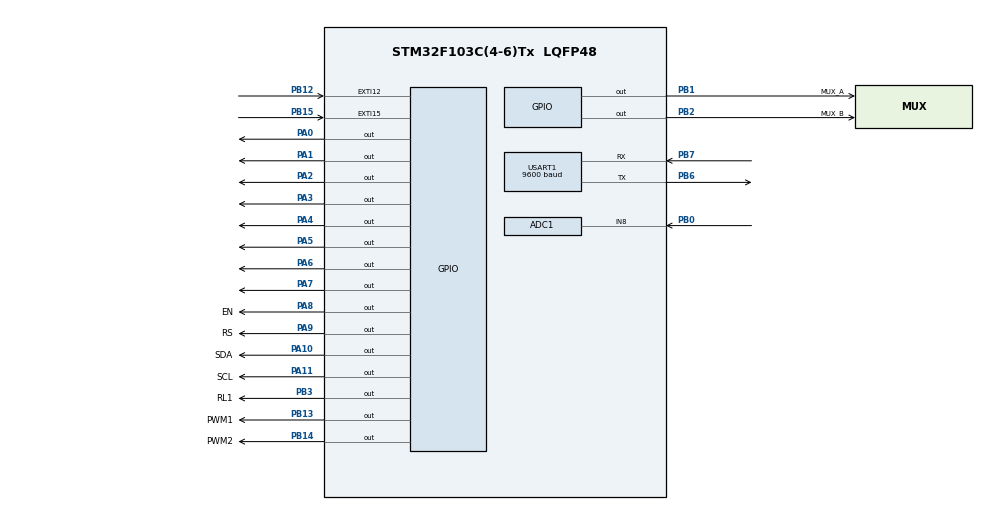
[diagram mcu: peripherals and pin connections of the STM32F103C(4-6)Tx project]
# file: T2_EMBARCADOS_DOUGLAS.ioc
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ADC1.Channel-0\#ChannelRegularConversion=ADC_CHANNEL_8
ADC1.NbrOfConversion=1
ADC1.NbrOfConversionFlag=1
ADC1.Rank-0\#ChannelRegularConversion=1
ADC1.SamplingTime-0\#ChannelRegularConversion=ADC_SAMPLETIME_71CYCLES_5
ADC1.master=1
Mcu.Family=STM32F1
Mcu.Name=STM32F103C(4-6)Tx
Mcu.Package=LQFP48
NVIC.EXTI15_10_IRQn=true\:0\:0\:false\:false\:true\:true\:true
NVIC.PriorityGroup=NVIC_PRIORITYGROUP_4
NVIC.TIM1_UP_IRQn=true\:0\:0\:false\:false\:true\:true\:true
PA0-WKUP.Signal=GPIO_Output
PA1.Signal=GPIO_Output
PA10.GPIO_Label=SDA
PA10.Signal=GPIO_Output
PA11.GPIO_Label=SCL
PA11.Signal=GPIO_Output
PA2.Signal=GPIO_Output
PA3.Signal=GPIO_Output
PA4.Signal=GPIO_Output
PA5.Signal=GPIO_Output
PA6.Signal=GPIO_Output
PA7.Signal=GPIO_Output
PA8.GPIO_Label=EN
PA8.Signal=GPIO_Output
PA9.GPIO_Label=RS
PA9.Signal=GPIO_Output
PB0.Signal=ADCx_IN8
PB1.GPIO_Label=MUX_A
PB1.Signal=GPIO_Output
PB12.GPIO_ModeDefaultEXTI=GPIO_MODE_IT_FALLING
PB12.Signal=GPXTI12
PB13.GPIO_Label=PWM1
PB13.Signal=GPIO_Output
PB14.GPIO_Label=PWM2
PB14.Signal=GPIO_Output
PB15.GPIO_ModeDefaultEXTI=GPIO_MODE_IT_RISING
PB15.Signal=GPXTI15
PB2.GPIO_Label=MUX_B
PB2.Signal=GPIO_Output
PB3.GPIO_Label=RL1
PB3.Signal=GPIO_Output
PB6.Mode=Asynchronous
PB6.Signal=USART1_TX
PB7.Mode=Asynchronous
PB7.Signal=USART1_RX
ProjectManager.HeapSize=0x200
ProjectManager.StackSize=0x400
ProjectManager.TargetToolchain=MDK-ARM V5.27
RCC.APB1Freq_Value=8000000
RCC.APB2Freq_Value=8000000
SH.ADCx_IN8.0=ADC1_IN8,IN8
TIM1.Period=1
TIM1.Prescaler=800
USART1.BaudRate=9600
USART1.VirtualMode=VM_ASYNC
VP_SYS_VS_ND.Mode=No_Debug
VP_TIM1_VS_ClockSourceINT.Mode=Internal
board=custom

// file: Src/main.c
/* USER CODE BEGIN Header */
/**
  ******************************************************************************
  * @file           : main.c
  * @brief          : Main program body
  ******************************************************************************
  * @attention
  *
  * <h2><center>&copy; Copyright (c) 2020 STMicroelectronics.
  * All rights reserved.</center></h2>
  *
  * This software component is licensed by ST under BSD 3-Clause license,
  * the "License"; You may not use this file except in compliance with the
  * License. You may obtain a copy of the License at:
  *                        opensource.org/licenses/BSD-3-Clause
  *
  ******************************************************************************
  */
/* USER CODE END Header */

#include "main.h"
#include "adc.h"
#include "tim.h"
#include "usart.h"
#include "gpio.h"

/* USER CODE BEGIN Includes */

#include "string.h"
#include "stdio.h"
#include "math.h"

#define SDA (1<<10) //PA.10 - PLACA stm32f103
#define SCL (1<<11) //PA.11 - PLACA stm32f103
#define SDA0 GPIOA->BSRR = 1<<(10+16)    // bit set/reset register 32 bit- 16 primeiros set, 16 ultimos reset: [0000010000000000 0000000000000000]
#define SDA1 GPIOA->BSRR = SDA					 // bit set/reset register 32 bit- 16 primeiros set, 16 ultimos reset: [0000000000000000 0000010000000000]
#define SCL0 GPIOA->BSRR = 1<<(11+16)
#define SCL1 GPIOA->BSRR = SCL

/* USER CODE END Includes */

/* USER CODE BEGIN PTD */

short AC1, AC2, AC3, B1, B2, MB, MC, MD;
unsigned short AC4, AC5, AC6;
long X1, X2, B5, T, UT, UP, B6, X3, B3, B4, B7, pressao;
unsigned int conta_tempo =0, tempo_medido =0, contador =0, direcao=0, pwm = 0;
float freq_anemometro=0, quantidade_chuva=0;

/* USER CODE END PTD */

void SystemClock_Config(void);

/* USER CODE BEGIN 0 */

//--------------------------------------------------- MANDA COMANDO PARA O LCD
	void lcd_comando(uint8_t comando){
	HAL_GPIO_WritePin(GPIOA, RS_Pin,0);  //RS em zero para mandar comando
	GPIOA->BRR = 0xFF; //zera os bits de dados
	GPIOA->BSRR = comando; //seta os bits do comando

	HAL_GPIO_WritePin(GPIOA, EN_Pin,1);			//en 1
	HAL_Delay(1);
	HAL_GPIO_WritePin(GPIOA, EN_Pin,0);			//en 0
	HAL_Delay(1);
	}

//--------------------------------------------------- DESLOCA CURSOR LCD
	void lcd_GOTO(int linha, int coluna){
		if (coluna<16){
		if (linha==0)lcd_comando(0x80+coluna);
		if (linha==1)lcd_comando(0xc0+coluna);
		if (linha==2)lcd_comando(0x94+coluna);
		if (linha==3)lcd_comando(0xD4+coluna);
		}
	}

//--------------------------------------------------- MANDA DADOS PARA ESCREVER NO LCD
	void lcd_dado(char dado){
	HAL_GPIO_WritePin(GPIOA, RS_Pin,1);  //RS em zero para mandar dados
	GPIOA->BRR = 0xFF; //zera os bits de dados
	GPIOA->BSRR = dado; //seta os bits do dado

	HAL_GPIO_WritePin(GPIOA, EN_Pin,1);			//en 1
	HAL_Delay(1);
	HAL_GPIO_WritePin(GPIOA, EN_Pin,0);			//en 0
	HAL_Delay(1);
	}

//--------------------------------------------------- ESCREVE STRINGS NO LCD
	void lcd_STRING(char vetor[]){
		int tamanho, i=0;
		tamanho = strlen(vetor);
		for(i=0;i<=tamanho;i++){
			lcd_dado(vetor[i]);
		}
	}

//--------------------------------------------------- INICIALIZAÇAO DO LCD
	void lcd_init(void){
		lcd_comando(0x38);
		lcd_comando(0x0e);
		lcd_comando(0x06);
		lcd_comando(0x01);
	  HAL_Delay(100);
	}

//--------------------------------------------------- APAGA TUDO NO DISLAY
	void lcd_clear(){
	int i=0, j=0;
		for (i=0; i<4;i++){
			for (j=0; j<16;j++){
				lcd_GOTO(i,j);
				lcd_dado(' ');
			}
		}
	}

//--------------------------------------------------- START I2C PADRAO
	void start_i2c(void){
SDA1;
HAL_Delay(1);//1 milisegundo
SCL1;
HAL_Delay(1);//1 milisegundo
SDA0;
HAL_Delay(1);//1 milisegundo
SCL0;
HAL_Delay(1);//1 milisegundo
}
//--------------------------------------------------- STOP I2C PADRAO
	void stop_i2c(void) {
SDA0;
HAL_Delay(1);//1 milisegundo
SCL0;
HAL_Delay(1);//1 milisegundo
SCL1;
HAL_Delay(1);//1 milisegundo
SDA1;
HAL_Delay(1);//1 milisegundo
}

//--------------------------------------------------- Envia 1 pelo I2C
	void envia_1_i2c(void){
SDA1;
HAL_Delay(1);//1 milisegundo
SCL1;
HAL_Delay(1);//1 milisegundo
SCL0;
HAL_Delay(1);//1 milisegundo
}

//--------------------------------------------------- Envia 0 pelo I2C
	void envia_0_i2c(void){
SDA0;
HAL_Delay(1);//1 milisegundo
SCL1;
HAL_Delay(1);//1 milisegundo
SCL0;
HAL_Delay(1);//1 milisegundo
}

//--------------------------------------------------- ACK i2c
	int ack_i2c(void){
int x;																// muda a config do pino de saida para entrada para poder ler o ack depois muda para sada de novo
GPIO_InitTypeDef GPIO_InitStruct;
GPIO_InitStruct.Pin = GPIO_PIN_10; // SDA => PA.10
GPIO_InitStruct.Mode = GPIO_MODE_INPUT; //FAZ SDA COMO ENTRADA
GPIO_InitStruct.Pull = GPIO_PULLUP;
GPIO_InitStruct.Speed = GPIO_SPEED_FREQ_LOW;
HAL_GPIO_Init(GPIOA, &GPIO_InitStruct);
SCL1;
HAL_Delay(1);//1 milisegundo
x = HAL_GPIO_ReadPin(GPIOA,SDA); //L^E O PINO
SCL0;
HAL_Delay(1);//1 milisegundo
GPIO_InitStruct.Pin = GPIO_PIN_10; // SDA => PA.10
GPIO_InitStruct.Mode = GPIO_MODE_OUTPUT_PP; //FAZ SDA COMO SA´IDA
GPIO_InitStruct.Pull = GPIO_PULLUP;
GPIO_InitStruct.Speed = GPIO_SPEED_FREQ_LOW;
HAL_GPIO_Init(GPIOA, &GPIO_InitStruct);
return x; //se 0 ok, se 1 erro
}

//--------------------------------------------------- LE UM BYTE
	int8_t le_byte(void){
	uint8_t x=0;																// muda a config do pino de saida para entrada para poder ler o ack depois muda para sada de novo
	GPIO_InitTypeDef GPIO_InitStruct;
	GPIO_InitStruct.Pin = GPIO_PIN_10; // SDA => PA.10
	GPIO_InitStruct.Mode = GPIO_MODE_INPUT; //FAZ SDA COMO ENTRADA
	GPIO_InitStruct.Pull = GPIO_PULLUP;
	GPIO_InitStruct.Speed = GPIO_SPEED_FREQ_LOW;
	HAL_GPIO_Init(GPIOA, &GPIO_InitStruct);

	for (int i=0; i<8; i++){
	SCL1;
	HAL_Delay(1);//1 milisegundo
	x = x<<1;
	x |= HAL_GPIO_ReadPin(GPIOA,SDA); //L^E O PINO
	SCL0;
	HAL_Delay(1);//1 milisegundo
	}

	GPIO_InitStruct.Pin = GPIO_PIN_10; // SDA => PA.10
	GPIO_InitStruct.Mode = GPIO_MODE_OUTPUT_PP; //FAZ SDA COMO SA´IDA
	GPIO_InitStruct.Pull = GPIO_PULLUP;
	GPIO_InitStruct.Speed = GPIO_SPEED_FREQ_LOW;
	HAL_GPIO_Init(GPIOA, &GPIO_InitStruct);
	return x;

}

//--------------------------------------------------- ENVIA UM BYTE
	void envia_byte(uint8_t dado){
		if ((dado & 0x80)==0) envia_0_i2c();
			else envia_1_i2c();
		if ((dado & 0x40)==0) envia_0_i2c();
			else envia_1_i2c();
		if ((dado & 0x20)==0) envia_0_i2c();
			else envia_1_i2c();
		if ((dado & 0x10)==0) envia_0_i2c();
			else envia_1_i2c();
		if ((dado & 0x08)==0) envia_0_i2c();
			else envia_1_i2c();
		if ((dado & 0x04)==0) envia_0_i2c();
			else envia_1_i2c();
		if ((dado & 0x02)==0) envia_0_i2c();
			else envia_1_i2c();
		if ((dado & 0x01)==0) envia_0_i2c();
			else envia_1_i2c();
	}
//--------------------------------------------------- CALIBRA SENSOR BMP180
	void le_calib_bmp180(void){
		uint8_t dado1, dado2;

//----------------------------- AC1
		start_i2c ();
		envia_byte(0xEE);
		ack_i2c();
		envia_byte(0xAA);
		ack_i2c();
		start_i2c();
		envia_byte(0xEF);
		ack_i2c();
		dado1 = le_byte();
		envia_1_i2c();
		stop_i2c();

		start_i2c ();
		envia_byte(0xEE);
		ack_i2c();
		envia_byte(0xAB);
		ack_i2c();
		start_i2c();
		envia_byte(0xEF);
		ack_i2c();
		dado2 = le_byte();
		envia_1_i2c();
		stop_i2c();

		AC1 = (dado1 << 8) + dado2;

//----------------------------- AC2
		start_i2c ();
		envia_byte(0xEE);
		ack_i2c();
		envia_byte(0xAC);
		ack_i2c();
		start_i2c();
		envia_byte(0xEF);
		ack_i2c();
		dado1 = le_byte();
		envia_1_i2c();
		stop_i2c();

		start_i2c ();
		envia_byte(0xEE);
		ack_i2c();
		envia_byte(0xAD);
		ack_i2c();
		start_i2c();
		envia_byte(0xEF);
		ack_i2c();
		dado2 = le_byte();
		envia_1_i2c();
		stop_i2c();

		AC2 = (dado1 << 8) + dado2;

//----------------------------- AC3
		start_i2c ();
		envia_byte(0xEE);
		ack_i2c();
		envia_byte(0xAE);
		ack_i2c();
		start_i2c();
		envia_byte(0xEF);
		ack_i2c();
		dado1 = le_byte();
		envia_1_i2c();
		stop_i2c();

		start_i2c ();
		envia_byte(0xEE);
		ack_i2c();
		envia_byte(0xAF);
		ack_i2c();
		start_i2c();
		envia_byte(0xEF);
		ack_i2c();
		dado2 = le_byte();
		envia_1_i2c();
		stop_i2c();

		AC3 = (dado1 << 8) + dado2;

//----------------------------- AC4
		start_i2c ();
		envia_byte(0xEE);
		ack_i2c();
		envia_byte(0xB0);
		ack_i2c();
		start_i2c();
		envia_byte(0xEF);
		ack_i2c();
		dado1 = le_byte();
		envia_1_i2c();
		stop_i2c();

		start_i2c ();
		envia_byte(0xEE);
		ack_i2c();
		envia_byte(0xB1);
		ack_i2c();
		start_i2c();
		envia_byte(0xEF);
		ack_i2c();
		dado2 = le_byte();
		envia_1_i2c();
		stop_i2c();

		AC4 = (dado1 << 8) + dado2;

//----------------------------- AC5
		start_i2c ();
		envia_byte(0xEE);
		ack_i2c();
		envia_byte(0xB2);
		ack_i2c();
		start_i2c();
		envia_byte(0xEF);
		ack_i2c();
		dado1 = le_byte();
		envia_1_i2c();
		stop_i2c();

		start_i2c ();
		envia_byte(0xEE);
		ack_i2c();
		envia_byte(0xB3);
		ack_i2c();
		start_i2c();
		envia_byte(0xEF);
		ack_i2c();
		dado2 = le_byte();
		envia_1_i2c();
		stop_i2c();

		AC5 = (dado1 << 8) + dado2;

//----------------------------- AC6
		start_i2c ();
		envia_byte(0xEE);
		ack_i2c();
		envia_byte(0xB4);
		ack_i2c();
		start_i2c();
		envia_byte(0xEF);
		ack_i2c();
		dado1 = le_byte();
		envia_1_i2c();
		stop_i2c();

		start_i2c ();
		envia_byte(0xEE);
		ack_i2c();
		envia_byte(0xB5);
		ack_i2c();
		start_i2c();
		envia_byte(0xEF);
		ack_i2c();
		dado2 = le_byte();
		envia_1_i2c();
		stop_i2c();

		AC6 = (dado1 << 8) + dado2;

//----------------------------- B1
		start_i2c ();
		envia_byte(0xEE);
		ack_i2c();
		envia_byte(0xB6);
		ack_i2c();
		start_i2c();
		envia_byte(0xEF);
		ack_i2c();
		dado1 = le_byte();
		envia_1_i2c();
		stop_i2c();

		start_i2c ();
		envia_byte(0xEE);
		ack_i2c();
		envia_byte(0xB7);
		ack_i2c();
		start_i2c();
		envia_byte(0xEF);
		ack_i2c();
		dado2 = le_byte();
		envia_1_i2c();
		stop_i2c();

		B1 = (dado1 << 8) + dado2;

//----------------------------- B2
		start_i2c ();
		envia_byte(0xEE);
		ack_i2c();
		envia_byte(0xB8);
		ack_i2c();
		start_i2c();
		envia_byte(0xEF);
		ack_i2c();
		dado1 = le_byte();
		envia_1_i2c();
		stop_i2c();

		start_i2c ();
		envia_byte(0xEE);
		ack_i2c();
		envia_byte(0xB9);
		ack_i2c();
		start_i2c();
		envia_byte(0xEF);
		ack_i2c();
		dado2 = le_byte();
		envia_1_i2c();
		stop_i2c();

		B2 = (dado1 << 8) + dado2;

//----------------------------- MB
		start_i2c ();
		envia_byte(0xEE);
		ack_i2c();
		envia_byte(0xBA);
		ack_i2c();
		start_i2c();
		envia_byte(0xEF);
		ack_i2c();
		dado1 = le_byte();
		envia_1_i2c();
		stop_i2c();

		start_i2c ();
		envia_byte(0xEE);
		ack_i2c();
		envia_byte(0xBB);
		ack_i2c();
		start_i2c();
		envia_byte(0xEF);
		ack_i2c();
		dado2 = le_byte();
		envia_1_i2c();
		stop_i2c();

		MB = (dado1 << 8) + dado2;

//----------------------------- MC
		start_i2c ();
		envia_byte(0xEE);
		ack_i2c();
		envia_byte(0xBC);
		ack_i2c();
		start_i2c();
		envia_byte(0xEF);
		ack_i2c();
		dado1 = le_byte();
		envia_1_i2c();
		stop_i2c();

		start_i2c ();
		envia_byte(0xEE);
		ack_i2c();
		envia_byte(0xBD);
		ack_i2c();
		start_i2c();
		envia_byte(0xEF);
		ack_i2c();
		dado2 = le_byte();
		envia_1_i2c();
		stop_i2c();

		MC = (dado1 << 8) + dado2;

//----------------------------- MD
		start_i2c ();
		envia_byte(0xEE);
		ack_i2c();
		envia_byte(0xBE);
		ack_i2c();
		start_i2c();
		envia_byte(0xEF);
		ack_i2c();
		dado1 = le_byte();
		envia_1_i2c();
		stop_i2c();

		start_i2c ();
		envia_byte(0xEE);
		ack_i2c();
		envia_byte(0xBF);
		ack_i2c();
		start_i2c();
		envia_byte(0xEF);
		ack_i2c();
		dado2 = le_byte();
		envia_1_i2c();
		stop_i2c();

		MD = (dado1 << 8) + dado2;

	}

//--------------------------------------------------- LE TEMPERATURA SENSOR BMP180
long le_temp_bmp180(void){
	uint8_t dado1, dado2;

	start_i2c();
	envia_byte(0xEE);
	ack_i2c();
	envia_byte(0xF4);
	ack_i2c();
	envia_byte(0x2E);
	ack_i2c();
	stop_i2c();
	HAL_Delay(5);

	start_i2c();
	envia_byte(0xEE);
	ack_i2c();
	envia_byte(0xF6);
	ack_i2c();
	start_i2c();
	envia_byte(0xEF);
	ack_i2c();
	dado1 = le_byte();
	envia_0_i2c();
	dado2 = le_byte();
	envia_1_i2c();
	stop_i2c();

	UT = (dado1 << 8) + dado2;
	X1 = (UT - AC6)*AC5/32768;
	X2 = MC*2048/(X1+MD);
	B5 = X1 + X2;
	T = (B5+8)/16;

	return (int)T/10;
}

//--------------------------------------------------- LE PRESSAO SENSOR BMP180
long le_press_bmp180(void){
	uint8_t dado1, dado2, dado3;

	start_i2c();
	envia_byte(0xEE);
	ack_i2c();
	envia_byte(0xF4);
	ack_i2c();
	envia_byte(0x34 +(0<<6));
	ack_i2c();
	stop_i2c();
	HAL_Delay(5);

	start_i2c();
	envia_byte(0xEE);
	ack_i2c();
	envia_byte(0xF6);
	ack_i2c();
	start_i2c();
	envia_byte(0xEF);
	ack_i2c();
	dado1 = le_byte();
	envia_0_i2c();
	dado2 = le_byte();
	envia_0_i2c();
	dado3 = le_byte();
	envia_1_i2c();
	stop_i2c();

	UP = ((dado1 << 16) + (dado2<<8) + dado1)>>8;
	X1 = (UT - AC6)*AC5/32768;
	X2 = MC*2048/(X1+MD);
	B5 = X1 + X2;
	B6 = B5 - 4000;
	X1 = (B2*(B6*B6/4096))/2048;
	X2 = AC2*B6/2048;
	X3 = X1 + X2;
	B3 = (((AC1*4+X3))+2)/4;
//	X1 = AC3* B6/8192;
//	X2 = (B1*(B6*B6/4096))/65536;
//	X3 = ((X1 + X2)+2)/4;
	B4 = AC4 * (unsigned long)(X3+32768)/32768;
	B7 = ((unsigned long)UP-B3)*(50000);
	if (B7 < 0x80000000) pressao = (B7*2)/B4;
		else pressao = (B7/B4)*2;
	X1 = (pressao/256)*(pressao/256);
	X1 = (X1*3038)/65536;
	X2 = (-7357*pressao)/65536;
	pressao = pressao + (X1 + X2 + 3791)/16;

	return (int)pressao/100;
}
//--------------------------------------------------- CALCULO ALTITUDE
float altitude(void){
	int pressao;
	float altitude=0;
	float aux1 = 1.0/5255.0;
	pressao = le_press_bmp180();
	altitude = 44330.0 * (1-pow((pressao/1023.25), aux1));
	return (int)altitude;
}

//--------------------------------------------------- LEITURA DO AD
uint16_t le_AD(int escolha){
	uint16_t pot_motor, vento, luminosidade;

//-------------------------------------- leitura vento
	HAL_GPIO_WritePin(GPIOB, MUX_A_Pin,0);
	HAL_GPIO_WritePin(GPIOB, MUX_B_Pin,0);
	HAL_Delay(10);
	HAL_ADC_Start(&hadc1);
	HAL_ADC_PollForConversion(&hadc1,100);
	vento = HAL_ADC_GetValue(&hadc1);
	HAL_ADC_Stop(&hadc1);

//-------------------------------------- leitura luminosidade
	HAL_GPIO_WritePin(GPIOB, MUX_A_Pin,1);
	HAL_GPIO_WritePin(GPIOB, MUX_B_Pin,0);
	HAL_Delay(10);
	HAL_ADC_Start(&hadc1);
	HAL_ADC_PollForConversion(&hadc1,100);
	luminosidade = HAL_ADC_GetValue(&hadc1);
	HAL_ADC_Stop(&hadc1);

//-------------------------------------- leitura pot motor
	HAL_GPIO_WritePin(GPIOB, MUX_A_Pin,0);
	HAL_GPIO_WritePin(GPIOB, MUX_B_Pin,1);
	HAL_Delay(10);
	HAL_ADC_Start(&hadc1);
	HAL_ADC_PollForConversion(&hadc1,100);
	pot_motor = HAL_ADC_GetValue(&hadc1);
	HAL_ADC_Stop(&hadc1);

  switch (escolha){
		case 1:
		return vento;
		break;
		case 2:
		return luminosidade;
		break;
		case 3:
		return pot_motor;
		break;
	}
}

//--------------------------------------------------- INTERRUPÇÂO PARA PWM
void HAL_TIM_PeriodElapsedCallback(TIM_HandleTypeDef *htim){

	contador ++;
	conta_tempo ++;
	if (pwm == 0) HAL_GPIO_WritePin(GPIOB, PWM1_Pin,0);
	else{
		if (contador <= pwm)	HAL_GPIO_WritePin(GPIOB, PWM1_Pin,1);
		else 	HAL_GPIO_WritePin(GPIOB, PWM1_Pin,0);
		if (contador >= 100) {
		contador = 0;
		HAL_GPIO_WritePin(GPIOB, PWM1_Pin,1);
		}
	}

}

//--------------------------------------------------- CONTROLE MOTOR
void controle_motor(void){
	uint16_t leitura_AD = 0;
	leitura_AD = le_AD(3);

	if (leitura_AD > 2035-50 && leitura_AD < 2035+50){
	pwm = 0;
	direcao = 3;
	}
	else{
	if (leitura_AD <= 2035-50){
	pwm =((leitura_AD*100)/2035);
	HAL_GPIO_WritePin(GPIOB, RL1_Pin,1);
	direcao =1;
	}

	if (leitura_AD >= 2035+50){
	pwm =((leitura_AD - 2035+50)*100)/2035;
	HAL_GPIO_WritePin(GPIOB, RL1_Pin,0);
	direcao = 2;
	}
}
}

//--------------------------------------------------- LEITURA VENTO
int dir_vento (void){
	uint16_t vento;
	int direcao=0; // N=1, NE=2, E=3, ES=4, S=5, SW=6, W=7, NW=8
	vento = le_AD(1);

	if (vento<= 3554+50 && vento>=3554-50) direcao = 0;
	else if (vento<= 2583+50 && vento>=2583-50) direcao = 45;
	else if (vento<= 713+50 && vento>=713-50) direcao = 90;
	else if (vento<= 1291+50 && vento>=1291-50) direcao = 135;
	else if (vento<= 1845+50 && vento>=1845-50) direcao = 180;
	else if (vento<= 3136+50 && vento>=3136-50) direcao = 225;
	else if (vento<= 3911+50 && vento>=3911-50) direcao = 270;
	else if (vento<= 3788+50 && vento>=3788-50) direcao = 315;
	else direcao =0;

	return direcao;
}

//--------------------------------------------------- LEITURA LUMINOSIDADE
int lumi_dia (void){
	uint16_t luminosidade;
	int estado_dia=0; // sol=1, parcialmente nublado=2, nublado=3, anoitecer=4, noite=5
	luminosidade = le_AD(2);

	if (luminosidade>=4096-50) estado_dia = 1;
	else if (luminosidade< 4096-50 && luminosidade>=2337) estado_dia = 2;
	else if (luminosidade< 2337 && luminosidade>=61) estado_dia = 3;
	else if (luminosidade< 61 && luminosidade>=8) estado_dia = 4;
	else if (luminosidade< 8) estado_dia = 5;
	else luminosidade =0;

	return estado_dia;
}

//--------------------------------------------------- INTERRUPÇÃO SENSOR CHUVA
void HAL_GPIO_EXTI_Callback(uint16_t GPIO_Pin){
	static int aux_contador =0, diferenca =0, aux=0;
	if (GPIO_Pin == GPIO_PIN_12){
	quantidade_chuva = quantidade_chuva + 1;
	}

	if (GPIO_Pin == GPIO_PIN_15){
		tempo_medido = conta_tempo;
		conta_tempo = 0;
	}

}

/* USER CODE END 0 */

int main(void)
{
  /* USER CODE BEGIN 1 */
	char vetor[30];

  /* USER CODE END 1 */

  /* MCU Configuration--------------------------------------------------------*/

  /* Reset of all peripherals, Initializes the Flash interface and the Systick. */
  HAL_Init();

  /* Configure the system clock */
  SystemClock_Config();

  /* Initialize all configured peripherals */
  MX_GPIO_Init();
  MX_TIM1_Init();
  MX_ADC1_Init();
  MX_USART1_UART_Init();
  /* USER CODE BEGIN 2 */

		HAL_TIM_Base_Start_IT(&htim1);
		le_calib_bmp180();
		lcd_init();

  /* USER CODE END 2 */

  /* Infinite loop */
  while (1)
  {

    /* USER CODE BEGIN 3 */

		controle_motor();
		sprintf(vetor, "T:%doC P:%3dPa A:%dm",(int)le_temp_bmp180(), (int)le_press_bmp180(), (int)altitude());
		lcd_GOTO(0,0);
		lcd_STRING(vetor);

		if (direcao == 1){
		sprintf(vetor, "VM:%d%%D Vento:%do",pwm, dir_vento());
		lcd_GOTO(1,0);
		lcd_STRING(vetor);
		}
		else if (direcao ==2 ) {
		sprintf(vetor, "VM:%.2d%%E Vento:%do",(int)pwm, dir_vento());
		lcd_GOTO(1,0);
		lcd_STRING(vetor);
		}
		else if (direcao ==3 ) {
		sprintf(vetor, "VM:Parado Vento:%do", dir_vento());
		lcd_GOTO(1,0);
		lcd_STRING(vetor);
		}

		if (lumi_dia() == 1){
		sprintf(vetor, "Chuva:%dmm  SOL     ",(int)quantidade_chuva);
		lcd_GOTO(2,0);
		lcd_STRING(vetor);
		}
		else if (lumi_dia() == 2){
		sprintf(vetor, "Chuva:%dmm  PAR NUB",(int)quantidade_chuva);
		lcd_GOTO(2,0);
		lcd_STRING(vetor);
		}
		else if (lumi_dia() == 3){
		sprintf(vetor, "Chuva:%dmm  NUBLADO    ",(int)quantidade_chuva);
		lcd_GOTO(2,0);
		lcd_STRING(vetor);
		}
		else if (lumi_dia() == 4){
		sprintf(vetor, "Chuva:%dmm  ANOITE",(int)quantidade_chuva);
		lcd_GOTO(2,0);
		lcd_STRING(vetor);
		}
		else if (lumi_dia() == 5){
		sprintf(vetor, "Chuva:%dmm  NOITE       ",(int)quantidade_chuva);
		lcd_GOTO(2,0);
		lcd_STRING(vetor);
		}

		sprintf(vetor, "Vel Vento:%2dkm/h",(int)(1/(tempo_medido*0.0001)));
		lcd_GOTO(3,0);
		lcd_STRING(vetor);

  }
  /* USER CODE END 3 */
}

void SystemClock_Config(void)
{
  RCC_OscInitTypeDef RCC_OscInitStruct = {0};
  RCC_ClkInitTypeDef RCC_ClkInitStruct = {0};
  RCC_PeriphCLKInitTypeDef PeriphClkInit = {0};

  /** Initializes the CPU, AHB and APB busses clocks
  */
  RCC_OscInitStruct.OscillatorType = RCC_OSCILLATORTYPE_HSI;
  RCC_OscInitStruct.HSIState = RCC_HSI_ON;
  RCC_OscInitStruct.HSICalibrationValue = RCC_HSICALIBRATION_DEFAULT;
  RCC_OscInitStruct.PLL.PLLState = RCC_PLL_NONE;
  if (HAL_RCC_OscConfig(&RCC_OscInitStruct) != HAL_OK)
  {
    Error_Handler();
  }
  /** Initializes the CPU, AHB and APB busses clocks
  */
  RCC_ClkInitStruct.ClockType = RCC_CLOCKTYPE_HCLK|RCC_CLOCKTYPE_SYSCLK
                              |RCC_CLOCKTYPE_PCLK1|RCC_CLOCKTYPE_PCLK2;
  RCC_ClkInitStruct.SYSCLKSource = RCC_SYSCLKSOURCE_HSI;
  RCC_ClkInitStruct.AHBCLKDivider = RCC_SYSCLK_DIV1;
  RCC_ClkInitStruct.APB1CLKDivider = RCC_HCLK_DIV1;
  RCC_ClkInitStruct.APB2CLKDivider = RCC_HCLK_DIV1;

  if (HAL_RCC_ClockConfig(&RCC_ClkInitStruct, FLASH_LATENCY_0) != HAL_OK)
  {
    Error_Handler();
  }
  PeriphClkInit.PeriphClockSelection = RCC_PERIPHCLK_ADC;
  PeriphClkInit.AdcClockSelection = RCC_ADCPCLK2_DIV2;
  if (HAL_RCCEx_PeriphCLKConfig(&PeriphClkInit) != HAL_OK)
  {
    Error_Handler();
  }
}

void Error_Handler(void)
{
}

/************************ (C) COPYRIGHT STMicroelectronics *****END OF FILE****/
